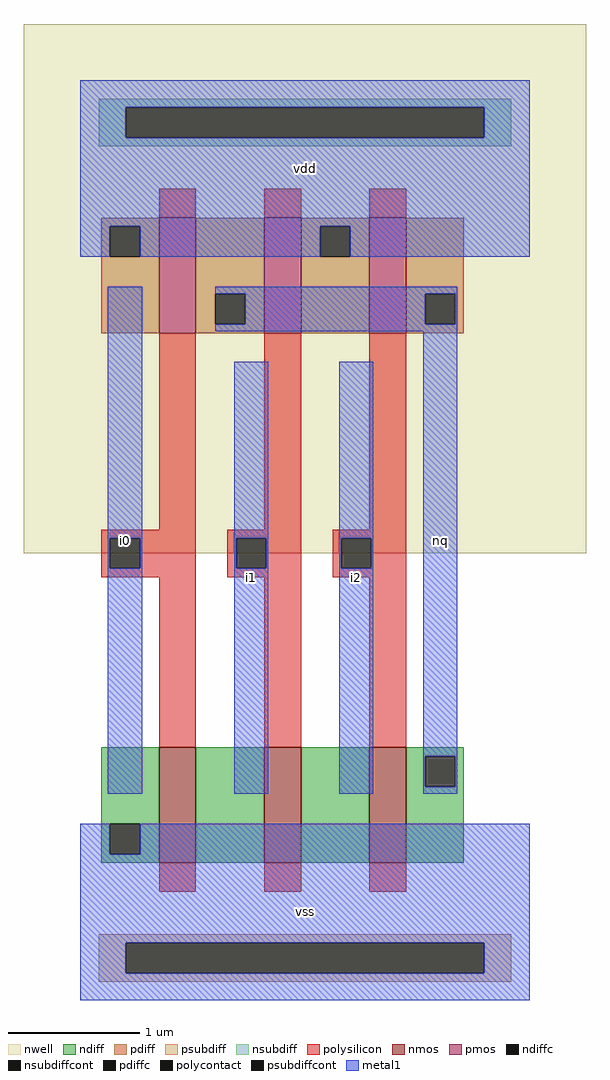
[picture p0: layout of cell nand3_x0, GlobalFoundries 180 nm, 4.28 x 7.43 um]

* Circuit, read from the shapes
.subckt nand3_x0 vss vdd i0 nq i1 i2
XM1 n1 i0 vss vss nfet_03v3 w=0.88u l=0.28u
XM2 n2 i1 n1 vss nfet_03v3 w=0.88u l=0.28u
XM3 nq i2 n2 vss nfet_03v3 w=0.88u l=0.28u
XM4 nq i0 vdd vdd pfet_03v3 w=0.88u l=0.28u
XM5 vdd i1 nq vdd pfet_03v3 w=0.88u l=0.28u
XM6 nq i2 vdd vdd pfet_03v3 w=0.88u l=0.28u
.ends

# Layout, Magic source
magic
tech gf180mcuD
magscale 1 10
<< nwell >>
rect -86 680 770 1486
<< nmos >>
rect 120 209 176 385
rect 280 209 336 385
rect 440 209 496 385
<< pmos >>
rect 120 1015 176 1191
rect 280 1015 336 1191
rect 440 1015 496 1191
<< ndiff >>
rect 32 268 120 385
rect 32 222 45 268
rect 91 222 120 268
rect 32 209 120 222
rect 176 209 280 385
rect 336 209 440 385
rect 496 371 584 385
rect 496 325 525 371
rect 571 325 584 371
rect 496 209 584 325
<< pdiff >>
rect 32 1178 120 1191
rect 32 1132 45 1178
rect 91 1132 120 1178
rect 32 1015 120 1132
rect 176 1075 280 1191
rect 176 1029 205 1075
rect 251 1029 280 1075
rect 176 1015 280 1029
rect 336 1178 440 1191
rect 336 1132 365 1178
rect 411 1132 440 1178
rect 336 1015 440 1132
rect 496 1075 584 1191
rect 496 1029 525 1075
rect 571 1029 584 1075
rect 496 1015 584 1029
<< ndiffc >>
rect 45 222 91 268
rect 525 325 571 371
<< pdiffc >>
rect 45 1132 91 1178
rect 205 1029 251 1075
rect 365 1132 411 1178
rect 525 1029 571 1075
<< psubdiff >>
rect 28 87 656 100
rect 28 41 69 87
rect 615 41 656 87
rect 28 28 656 41
<< nsubdiff >>
rect 28 1359 656 1372
rect 28 1313 69 1359
rect 615 1313 656 1359
rect 28 1300 656 1313
<< psubdiffcont >>
rect 69 41 615 87
<< nsubdiffcont >>
rect 69 1313 615 1359
<< polysilicon >>
rect 120 1191 176 1235
rect 280 1191 336 1235
rect 440 1191 496 1235
rect 120 716 176 1015
rect 280 716 336 1015
rect 440 716 496 1015
rect 32 703 176 716
rect 32 657 45 703
rect 91 657 176 703
rect 32 644 176 657
rect 224 703 336 716
rect 224 657 237 703
rect 283 657 336 703
rect 224 644 336 657
rect 384 703 496 716
rect 384 657 397 703
rect 443 657 496 703
rect 384 644 496 657
rect 120 385 176 644
rect 280 385 336 644
rect 440 385 496 644
rect 120 165 176 209
rect 280 165 336 209
rect 440 165 496 209
<< polycontact >>
rect 45 657 91 703
rect 237 657 283 703
rect 397 657 443 703
<< metal1 >>
rect 0 1359 684 1400
rect 0 1313 69 1359
rect 615 1313 684 1359
rect 0 1178 684 1313
rect 0 1132 45 1178
rect 91 1132 365 1178
rect 411 1132 684 1178
rect 42 703 94 1086
rect 205 1075 574 1086
rect 251 1029 525 1075
rect 571 1029 574 1075
rect 205 1018 574 1029
rect 42 657 45 703
rect 91 657 94 703
rect 42 314 94 657
rect 234 703 286 972
rect 234 657 237 703
rect 283 657 286 703
rect 234 314 286 657
rect 394 703 446 972
rect 394 657 397 703
rect 443 657 446 703
rect 394 314 446 657
rect 522 371 574 1018
rect 522 325 525 371
rect 571 325 574 371
rect 522 314 574 325
rect 0 222 45 268
rect 91 222 684 268
rect 0 87 684 222
rect 0 41 69 87
rect 615 41 684 87
rect 0 0 684 41
<< labels >>
rlabel metal1 s 0 0 684 268 4 vss
port 3 nsew
rlabel metal1 s 0 1132 684 1400 4 vdd
port 5 nsew
rlabel metal1 s 42 314 94 1086 4 i0
port 7 nsew
rlabel metal1 s 522 314 574 1086 4 nq
port 9 nsew
rlabel metal1 s 234 314 286 972 4 i1
port 11 nsew
rlabel metal1 s 394 314 446 972 4 i2
port 13 nsew
<< end >>
